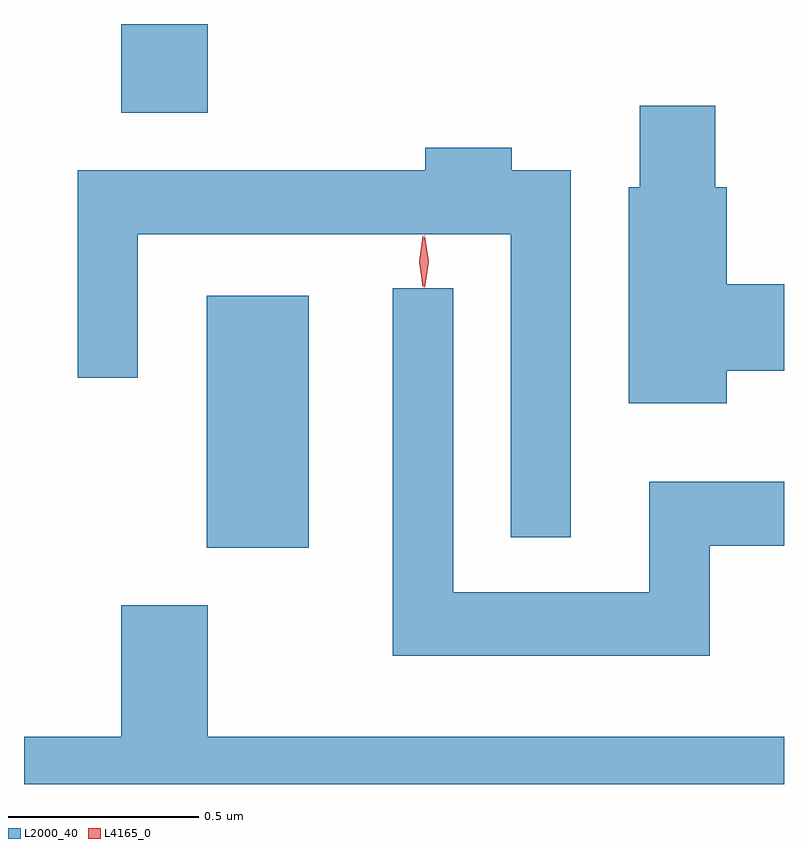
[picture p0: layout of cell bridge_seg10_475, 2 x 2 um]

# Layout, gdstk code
import gdstk
lib = gdstk.Library(unit=1e-6, precision=1e-09)
def R(c, l, rs):  # rectangles x0, y0, x1, y1
    for r in rs: c.add(gdstk.rectangle(r[:2], r[2:], *l))
def P(c, l, *ps):  # polygons
    for p in ps: c.add(gdstk.Polygon(p, *l))
L2000_40 = (2000, 40)
L4165_0 = (4165, 0)

bridge_seg10_475 = lib.new_cell('bridge_seg10_475')
R(bridge_seg10_475, L2000_40, [(1442.186,2101.361,1442.454,2102.024), (1441.961,2102.506,1442.189,2102.739)])
P(bridge_seg10_475, L2000_40, [(1443.554,2101.826),(1443.705,2101.826),(1443.705,2102.054),(1443.554,2102.054),(1443.554,2102.309),(1443.524,2102.309),(1443.524,2102.524),(1443.326,2102.524),(1443.326,2102.309),(1443.296,2102.309),(1443.296,2101.741),(1443.554,2101.741)],
  [(1443.144,2102.354),(1442.989,2102.354),(1442.989,2102.414),(1442.761,2102.414),(1442.761,2102.354),(1441.846,2102.354),(1441.846,2101.808),(1442.004,2101.808),(1442.004,2102.186),(1442.986,2102.186),(1442.986,2101.388),(1443.144,2101.388)],
  [(1443.509,2101.366),(1443.705,2101.366),(1443.705,2101.534),(1443.351,2101.534),(1443.351,2101.244),(1442.834,2101.244),(1442.834,2102.043),(1442.676,2102.043),(1442.676,2101.076),(1443.509,2101.076)],
  [(1443.705,2100.864),(1442.189,2100.864),(1442.189,2101.209),(1441.961,2101.209),(1441.961,2100.864),(1441.705,2100.864),(1441.705,2100.739),(1443.705,2100.739)])
P(bridge_seg10_475, L4165_0, [(1442.754,2102.047),(1442.745,2102.114),(1442.754,2102.18),(1442.755,2102.18),(1442.755,2102.18),(1442.765,2102.114),(1442.755,2102.047),(1442.755,2102.047)],
  [(1442.759,2102.044),(1442.75,2102.113),(1442.759,2102.182),(1442.76,2102.183),(1442.76,2102.182),(1442.77,2102.113),(1442.76,2102.044),(1442.76,2102.044)])

lib.write_gds('bridge_seg10_475.gds')
